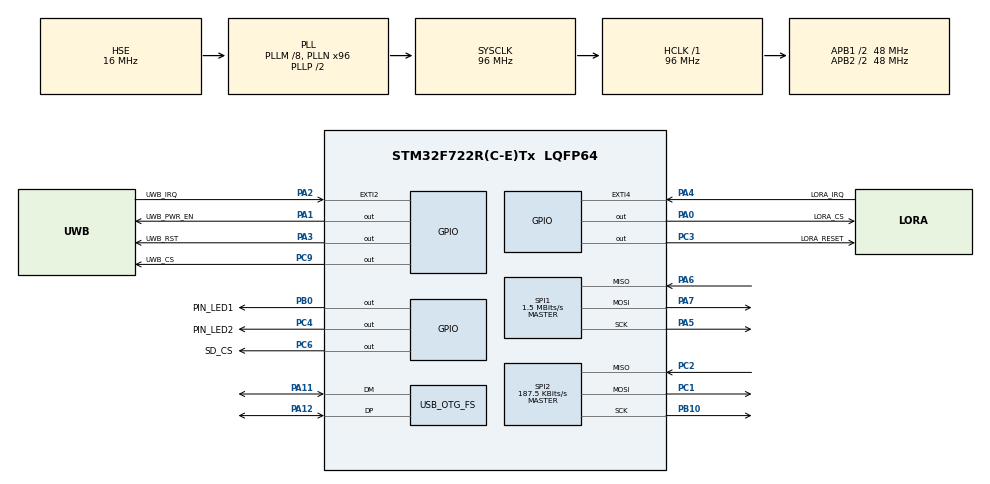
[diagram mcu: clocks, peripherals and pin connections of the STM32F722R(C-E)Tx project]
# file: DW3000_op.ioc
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Mcu.Family=STM32F7
Mcu.Name=STM32F722R(C-E)Tx
Mcu.Package=LQFP64
NVIC.EXTI2_IRQn=true\:0\:0\:false\:false\:true\:true\:true\:true
NVIC.EXTI4_IRQn=true\:0\:0\:false\:false\:true\:true\:true\:true
NVIC.OTG_FS_IRQn=true\:0\:0\:false\:false\:true\:false\:true\:true
NVIC.PriorityGroup=NVIC_PRIORITYGROUP_4
PA0-WKUP.GPIO_Label=LORA_CS
PA0-WKUP.GPIO_PuPd=GPIO_PULLUP
PA0-WKUP.PinState=GPIO_PIN_SET
PA0-WKUP.Signal=GPIO_Output
PA1.GPIO_Label=UWB_PWR_EN
PA1.Signal=GPIO_Output
PA11.Mode=Device_Only
PA11.Signal=USB_OTG_FS_DM
PA12.Mode=Device_Only
PA12.Signal=USB_OTG_FS_DP
PA13.Mode=Serial_Wire
PA13.Signal=SYS_JTMS-SWDIO
PA14.Mode=Serial_Wire
PA14.Signal=SYS_JTCK-SWCLK
PA2.GPIO_Label=UWB_IRQ
PA2.Signal=GPXTI2
PA3.GPIO_Label=UWB_RST
PA3.Signal=GPIO_Output
PA4.GPIO_Label=LORA_IRQ
PA4.GPIO_PuPd=GPIO_PULLDOWN
PA4.Signal=GPXTI4
PA5.Mode=Full_Duplex_Master
PA5.Signal=SPI1_SCK
PA6.Mode=Full_Duplex_Master
PA6.Signal=SPI1_MISO
PA7.Mode=Full_Duplex_Master
PA7.Signal=SPI1_MOSI
PB0.GPIO_Label=PIN_LED1
PB0.Signal=GPIO_Output
PB10.Mode=Full_Duplex_Master
PB10.Signal=SPI2_SCK
PC1.Mode=Full_Duplex_Master
PC1.Signal=SPI2_MOSI
PC14-OSC32_IN.Mode=LSE-External-Oscillator
PC14-OSC32_IN.Signal=RCC_OSC32_IN
PC15-OSC32_OUT.Mode=LSE-External-Oscillator
PC15-OSC32_OUT.Signal=RCC_OSC32_OUT
PC2.Mode=Full_Duplex_Master
PC2.Signal=SPI2_MISO
PC3.GPIO_Label=LORA_RESET
PC3.GPIO_PuPd=GPIO_PULLUP
PC3.Signal=GPIO_Output
PC4.GPIO_Label=PIN_LED2
PC4.Signal=GPIO_Output
PC6.GPIO_Label=SD_CS
PC6.GPIO_PuPd=GPIO_PULLUP
PC6.Signal=GPIO_Output
PC9.GPIO_Label=UWB_CS
PC9.GPIO_PuPd=GPIO_PULLUP
PC9.PinState=GPIO_PIN_SET
PC9.Signal=GPIO_Output
PH0-OSC_IN.Mode=HSE-External-Oscillator
PH0-OSC_IN.Signal=RCC_OSC_IN
PH1-OSC_OUT.Mode=HSE-External-Oscillator
PH1-OSC_OUT.Signal=RCC_OSC_OUT
ProjectManager.HeapSize=0x200
ProjectManager.StackSize=0x400
ProjectManager.TargetToolchain=STM32CubeIDE
RCC.AHBFreq_Value=96000000
RCC.APB1CLKDivider=RCC_HCLK_DIV2
RCC.APB1Freq_Value=48000000
RCC.APB1TimFreq_Value=96000000
RCC.APB2CLKDivider=RCC_HCLK_DIV2
RCC.APB2Freq_Value=48000000
RCC.APB2TimFreq_Value=96000000
RCC.CortexFreq_Value=96000000
RCC.HCLKFreq_Value=96000000
RCC.HSE_VALUE=16000000
RCC.HSI_VALUE=16000000
RCC.PLLM=8
RCC.PLLN=96
RCC.PLLQ=4
RCC.PWREXT_OverDrive=PWREXT_OverDrive_ACTIVATED
RCC.PWR_Regulator_Voltage_Scale=PWR_REGULATOR_VOLTAGE_SCALE1
RCC.SYSCLKFreq_VALUE=96000000
RCC.SYSCLKSource=RCC_SYSCLKSOURCE_PLLCLK
RCC.USBFreq_Value=48000000
RCC.VCOOutputFreq_Value=192000000
SPI1.BaudRatePrescaler=SPI_BAUDRATEPRESCALER_32
SPI1.CalculateBaudRate=1.5 MBits/s
SPI1.DataSize=SPI_DATASIZE_8BIT
SPI1.Direction=SPI_DIRECTION_2LINES
SPI1.Mode=SPI_MODE_MASTER
SPI1.VirtualType=VM_MASTER
SPI2.BaudRatePrescaler=SPI_BAUDRATEPRESCALER_256
SPI2.CalculateBaudRate=187.5 KBits/s
SPI2.DataSize=SPI_DATASIZE_8BIT
SPI2.Direction=SPI_DIRECTION_2LINES
SPI2.Mode=SPI_MODE_MASTER
SPI2.VirtualType=VM_MASTER
USB_DEVICE.CLASS_NAME_FS=CDC
USB_DEVICE.VirtualMode-CDC_FS=Cdc
USB_DEVICE.VirtualModeFS=Cdc_FS
USB_OTG_FS.VirtualMode=Device_Only
VP_FATFS_VS_Generic.Mode=User_defined
VP_USB_DEVICE_VS_USB_DEVICE_CDC_FS.Mode=CDC_FS
board=custom

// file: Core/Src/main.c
/* USER CODE BEGIN Header */
/**
  ******************************************************************************
  * @file           : main.c
  * @brief          : Main program body
  ******************************************************************************
  * @attention
  *
  * Copyright (c) 2025 STMicroelectronics.
  * All rights reserved.
  *
  * This software is licensed under terms that can be found in the LICENSE file
  * in the root directory of this software component.
  * If no LICENSE file comes with this software, it is provided AS-IS.
  *
  ******************************************************************************
  */
/* USER CODE END Header */
#include "main.h"
#include "fatfs.h"
#include "usb_device.h"

/* USER CODE BEGIN Includes */
#include "DW3000_FZ.h"
#include "DW3000_send_test_FZ.h"
#include "DW3000_recv_test_FZ.h"

/* USER CODE END Includes */

/* USER CODE BEGIN PTD */
/* Default communication configuration. We use default non-STS DW mode. */
static dwt_config_t config = {
  5,               /* Channel number. */
  DWT_PLEN_128,    /* Preamble length. Used in TX only. */
  DWT_PAC8,        /* Preamble acquisition chunk size. Used in RX only. */
  9,               /* TX preamble code. Used in TX only. */
  9,               /* RX preamble code. Used in RX only. */
  1,               /* 0 to use standard 8 symbol SFD, 1 to use non-standard 8 symbol, 2 for non-standard 16 symbol SFD and 3 for 4z 8 symbol SDF type */
  DWT_BR_6M8,      /* Data rate. */
  DWT_PHRMODE_STD, /* PHY header mode. */
  DWT_PHRRATE_STD, /* PHY header rate. */
  (129 + 8 - 8),   /* SFD timeout (preamble length + 1 + SFD length - PAC size). Used in RX only. */
  DWT_STS_MODE_OFF,
  DWT_STS_LEN_64, /* STS length, see allowed values in Enum dwt_sts_lengths_e */
  DWT_PDOA_M0     /* PDOA mode off */
};

/* Buffer to store received frame. See NOTE 1 below. */
//static uint8_t rx_buffer[FRAME_LEN_MAX];

// https://gist.github.com/egnor/455d510e11c22deafdec14b09da5bf54
node_type current_node = tx_node; // current node type, default is TX node
static uint8_t rx_buffer[FRAME_LEN_MAX];
#define FCS_LEN 2
/* Hold copy of status register state here for reference so that it can be examined at a debug breakpoint. */
uint32_t status_reg;
/* Hold copy of frame length of frame received (if good) so that it can be examined at a debug breakpoint. */
uint16_t frame_len;
/* USER CODE END PTD */

/* USER CODE BEGIN PD */
// #define FRAME_LENGTH (sizeof(tx_msg) + FCS_LEN) // The real length that is going to be transmitted

/* USER CODE END PD */

SPI_HandleTypeDef hspi1;
SPI_HandleTypeDef hspi2;

void SystemClock_Config(void);
static void MX_GPIO_Init(void);
static void MX_SPI1_Init(void);
static void MX_SPI2_Init(void);

int main(void)
{

  /* MCU Configuration--------------------------------------------------------*/

  /* Reset of all peripherals, Initializes the Flash interface and the Systick. */
  HAL_Init();

  /* Configure the system clock */
  SystemClock_Config();

  /* Initialize all configured peripherals */
  MX_GPIO_Init();
  MX_SPI1_Init();
  MX_SPI2_Init();
  MX_FATFS_Init();
  MX_USB_DEVICE_Init();
  /* USER CODE BEGIN 2 */

  HAL_Delay(10);

  DW3000poweron();
  HAL_Delay(10);     // wait for the DW3000 to power on and stabilize
  DW3000hardReset(); // with hard reset, no need for a softreset
  HAL_Delay(10);     // wait for the DW3000 to wake up

  set_SPI2lowspeed(&hspi1);
  // HAL_Delay(10);     // wait for the DW3000 to wake up

  // Make sure the SPI is ready
  while(!(dwt_read32bitoffsetreg(SYS_STATUS_ID, 0) & SYS_STATUS_SPIRDY_BIT_MASK)) {
    HAL_Delay(10);
  }

  // check if the DW3000 is present
  uint32_t dev_id = dwt_read32bitoffsetreg(DEV_ID_ID, 0);

  if (dev_id == (uint32_t)DWT_DW3000_DEV_ID) {
    printf("DW3000 Device ID: 0x%08lX\r\n", dev_id);
    blink_led(PIN_LED1_GPIO_Port, PIN_LED1_Pin, 50);
  } else {
    printf("Wrong Device ID: 0x%08lX\r\n", dev_id);
    while (1);
  }

  HAL_Delay(10);

  if(DW3000check_IDLE_RC()) {
    // DW3000enter_IDLE_PLL(); // enter PLL mode
    // HAL_Delay(10); // wait for the PLL to lock
  } else {
    while (1);
  }

  // test_run_info((unsigned char *)"IDLE OK\r\n");
  if (dwt_initialise(DWT_DW_INIT) == DWT_ERROR) {
	  printf("dwt_initialise error\r\n");
    while (100) {;}
  }

  dwt_setleds(DWT_LEDS_ENABLE | DWT_LEDS_INIT_BLINK);

  // Configure DW IC. See NOTE 5 below.
  // if the dwt_configure returns DWT_ERROR either the PLL or RX calibration has failed the host should reset the device
  if (dwt_configure(&config))  {
    printf("CONFIG FAILED\r\n");
    while (100) {;}
  }

  if (current_node == tx_node) {
    DW3000_irq_for_tx_done(); // enable the IRQ for TX done
    /* Configure the TX spectrum parameters (power PG delay and PG Count) */
    dwt_configuretxrf(0x34, 0xfdfdfdfd, 0x00);
  }
  if (current_node == rx_node) {
    DW3000_irq_for_rx_done(); // enable the IRQ for RX done
  }

  if(DW3000check_IDLE_RC()) {
    DW3000enter_IDLE_PLL(); // enter PLL mode
    HAL_Delay(10); // wait for the PLL to lock
  } else {
    while (1);
  }

  // wait until the PLL is locked and the DW3000 is in IDLE state
  // actually this is redundant since PLL lock means IDLE_PLL state
  if(DW3000check_IDLE_PLL() && DW3000check_IDLE()) {
    HAL_GPIO_WritePin(PIN_LED1_GPIO_Port, PIN_LED1_Pin, GPIO_PIN_SET);
  } else {
    HAL_GPIO_WritePin(PIN_LED1_GPIO_Port, PIN_LED1_Pin, GPIO_PIN_RESET);
    while (1);
  }
  set_SPI2highspeed(&hspi1);

  /* USER CODE END 2 */

  /* Infinite loop */
  while (1) {

    /* USER CODE BEGIN 3 */
    if (current_node == tx_node) {
      // send data
      DW3000_clear_IRQ(); // clear the IRQ flags, reset the IRQ pin.
      DW3000_writetxdata_FZ(data2send, 10);
      dwt_writetxfctrl(12, 0, 0); /* Zero offset in TX buffer, no ranging. */
      DW3000_txcmd_FZ(0);

      // wait for the IRQ to be triggered
      while (!DW3000_IRQ_flag) {;}

      DW3000_IRQ_flag = false; // reset the flag
      uint32_t current_status = DW3000readreg(SYS_STATUS_ID, 4);

      if (current_status & SYS_STATUS_TXFRS_BIT_MASK) {
        printf("TX done, SYS_STATUS: 0x%08lX\r\n", current_status);
        // clear the IRQ flags
        DW3000_clear_IRQ();
        HAL_GPIO_WritePin(GPIOC, PIN_LED2_Pin, GPIO_PIN_SET);
        HAL_Delay(50);
        HAL_GPIO_WritePin(GPIOC, PIN_LED2_Pin, GPIO_PIN_RESET);
        HAL_Delay(448);
      } else {
        printf("TX failed, SYS_STATUS: 0x%08lX\r\n", current_status);
        // clear the IRQ flags
        DW3000_clear_IRQ();
        HAL_GPIO_WritePin(GPIOC, PIN_LED2_Pin, GPIO_PIN_RESET);
        HAL_Delay(500);
      }
    }
    if (current_node == rx_node) {
      // receive data
      memset(rx_buffer, 0, sizeof(rx_buffer));
      DW3000_clear_IRQ(); // clear the IRQ flags, reset the IRQ pin.
      DW3000_start_receiver_FZ(); // start the receiver
      // DW3000_set_max_sfd_timeout(); // set the maximum SFD timeout

      // wait for the IRQ to be triggered
      while (!DW3000_IRQ_flag) {;}

      DW3000_IRQ_flag = false; // reset the flag
      uint32_t current_status = DW3000readreg(SYS_STATUS_ID, 4);

      if (current_status & SYS_STATUS_RXFR_BIT_MASK) {
        DW3000_clear_IRQ();
        HAL_GPIO_WritePin(GPIOC, PIN_LED2_Pin, GPIO_PIN_SET);
        HAL_Delay(50);
        HAL_GPIO_WritePin(GPIOC, PIN_LED2_Pin, GPIO_PIN_RESET);
        frame_len = dwt_read32bitreg(RX_FINFO_ID) & RX_FINFO_RXFLEN_BIT_MASK;
        dwt_readrxdata(rx_buffer, frame_len - FCS_LEN, 0); /* No need to read the FCS/CRC. */
        dwt_write32bitreg(SYS_STATUS_ID, SYS_STATUS_RXFCG_BIT_MASK);
        printf("RX OK, length %d bytes: ", frame_len);
        for (size_t i = 0; i < frame_len; i++) {
          printf("0x%02X ", rx_buffer[i]);
        }
        printf("\r\n");

      } else {
        DW3000_clear_IRQ();
        HAL_GPIO_WritePin(GPIOC, PIN_LED2_Pin, GPIO_PIN_SET);
        HAL_Delay(50);
        HAL_GPIO_WritePin(GPIOC, PIN_LED2_Pin, GPIO_PIN_RESET);
        printf("RX failed, SYS_STATUS: 0x%08lX\r\n", current_status);
      }
    }
  }
  /* USER CODE END 3 */
}

void SystemClock_Config(void)
{
  RCC_OscInitTypeDef RCC_OscInitStruct = {0};
  RCC_ClkInitTypeDef RCC_ClkInitStruct = {0};

  /** Configure LSE Drive Capability
  */
  HAL_PWR_EnableBkUpAccess();

  /** Configure the main internal regulator output voltage
  */
  __HAL_RCC_PWR_CLK_ENABLE();
  __HAL_PWR_VOLTAGESCALING_CONFIG(PWR_REGULATOR_VOLTAGE_SCALE1);

  /** Initializes the RCC Oscillators according to the specified parameters
  * in the RCC_OscInitTypeDef structure.
  */
  RCC_OscInitStruct.OscillatorType = RCC_OSCILLATORTYPE_HSE;
  RCC_OscInitStruct.HSEState = RCC_HSE_ON;
  RCC_OscInitStruct.PLL.PLLState = RCC_PLL_ON;
  RCC_OscInitStruct.PLL.PLLSource = RCC_PLLSOURCE_HSE;
  RCC_OscInitStruct.PLL.PLLM = 8;
  RCC_OscInitStruct.PLL.PLLN = 96;
  RCC_OscInitStruct.PLL.PLLP = RCC_PLLP_DIV2;
  RCC_OscInitStruct.PLL.PLLQ = 4;
  if (HAL_RCC_OscConfig(&RCC_OscInitStruct) != HAL_OK)
  {
    Error_Handler();
  }

  /** Activate the Over-Drive mode
  */
  if (HAL_PWREx_EnableOverDrive() != HAL_OK)
  {
    Error_Handler();
  }

  /** Initializes the CPU, AHB and APB buses clocks
  */
  RCC_ClkInitStruct.ClockType = RCC_CLOCKTYPE_HCLK|RCC_CLOCKTYPE_SYSCLK
                              |RCC_CLOCKTYPE_PCLK1|RCC_CLOCKTYPE_PCLK2;
  RCC_ClkInitStruct.SYSCLKSource = RCC_SYSCLKSOURCE_PLLCLK;
  RCC_ClkInitStruct.AHBCLKDivider = RCC_SYSCLK_DIV1;
  RCC_ClkInitStruct.APB1CLKDivider = RCC_HCLK_DIV2;
  RCC_ClkInitStruct.APB2CLKDivider = RCC_HCLK_DIV2;

  if (HAL_RCC_ClockConfig(&RCC_ClkInitStruct, FLASH_LATENCY_3) != HAL_OK)
  {
    Error_Handler();
  }
}

static void MX_SPI1_Init(void)
{

  /* SPI1 parameter configuration*/
  hspi1.Instance = SPI1;
  hspi1.Init.Mode = SPI_MODE_MASTER;
  hspi1.Init.Direction = SPI_DIRECTION_2LINES;
  hspi1.Init.DataSize = SPI_DATASIZE_8BIT;
  hspi1.Init.CLKPolarity = SPI_POLARITY_LOW;
  hspi1.Init.CLKPhase = SPI_PHASE_1EDGE;
  hspi1.Init.NSS = SPI_NSS_SOFT;
  hspi1.Init.BaudRatePrescaler = SPI_BAUDRATEPRESCALER_32;
  hspi1.Init.FirstBit = SPI_FIRSTBIT_MSB;
  hspi1.Init.TIMode = SPI_TIMODE_DISABLE;
  hspi1.Init.CRCCalculation = SPI_CRCCALCULATION_DISABLE;
  hspi1.Init.CRCPolynomial = 7;
  hspi1.Init.CRCLength = SPI_CRC_LENGTH_DATASIZE;
  hspi1.Init.NSSPMode = SPI_NSS_PULSE_ENABLE;
  if (HAL_SPI_Init(&hspi1) != HAL_OK)
  {
    Error_Handler();
  }

}

static void MX_SPI2_Init(void)
{

  /* SPI2 parameter configuration*/
  hspi2.Instance = SPI2;
  hspi2.Init.Mode = SPI_MODE_MASTER;
  hspi2.Init.Direction = SPI_DIRECTION_2LINES;
  hspi2.Init.DataSize = SPI_DATASIZE_8BIT;
  hspi2.Init.CLKPolarity = SPI_POLARITY_LOW;
  hspi2.Init.CLKPhase = SPI_PHASE_1EDGE;
  hspi2.Init.NSS = SPI_NSS_SOFT;
  hspi2.Init.BaudRatePrescaler = SPI_BAUDRATEPRESCALER_256;
  hspi2.Init.FirstBit = SPI_FIRSTBIT_MSB;
  hspi2.Init.TIMode = SPI_TIMODE_DISABLE;
  hspi2.Init.CRCCalculation = SPI_CRCCALCULATION_DISABLE;
  hspi2.Init.CRCPolynomial = 7;
  hspi2.Init.CRCLength = SPI_CRC_LENGTH_DATASIZE;
  hspi2.Init.NSSPMode = SPI_NSS_PULSE_ENABLE;
  if (HAL_SPI_Init(&hspi2) != HAL_OK)
  {
    Error_Handler();
  }

}

static void MX_GPIO_Init(void)
{
  GPIO_InitTypeDef GPIO_InitStruct = {0};

  /* GPIO Ports Clock Enable */
  __HAL_RCC_GPIOC_CLK_ENABLE();
  __HAL_RCC_GPIOH_CLK_ENABLE();
  __HAL_RCC_GPIOA_CLK_ENABLE();
  __HAL_RCC_GPIOB_CLK_ENABLE();

  /*Configure GPIO pin Output Level */
  HAL_GPIO_WritePin(GPIOC, LORA_RESET_Pin|PIN_LED2_Pin|SD_CS_Pin, GPIO_PIN_RESET);

  /*Configure GPIO pin Output Level */
  HAL_GPIO_WritePin(LORA_CS_GPIO_Port, LORA_CS_Pin, GPIO_PIN_SET);

  /*Configure GPIO pin Output Level */
  HAL_GPIO_WritePin(GPIOA, UWB_PWR_EN_Pin|UWB_RST_Pin, GPIO_PIN_RESET);

  /*Configure GPIO pin Output Level */
  HAL_GPIO_WritePin(PIN_LED1_GPIO_Port, PIN_LED1_Pin, GPIO_PIN_RESET);

  /*Configure GPIO pin Output Level */
  HAL_GPIO_WritePin(UWB_CS_GPIO_Port, UWB_CS_Pin, GPIO_PIN_SET);

  /*Configure GPIO pins : LORA_RESET_Pin SD_CS_Pin UWB_CS_Pin */
  GPIO_InitStruct.Pin = LORA_RESET_Pin|SD_CS_Pin|UWB_CS_Pin;
  GPIO_InitStruct.Mode = GPIO_MODE_OUTPUT_PP;
  GPIO_InitStruct.Pull = GPIO_PULLUP;
  GPIO_InitStruct.Speed = GPIO_SPEED_FREQ_LOW;
  HAL_GPIO_Init(GPIOC, &GPIO_InitStruct);

  /*Configure GPIO pin : LORA_CS_Pin */
  GPIO_InitStruct.Pin = LORA_CS_Pin;
  GPIO_InitStruct.Mode = GPIO_MODE_OUTPUT_PP;
  GPIO_InitStruct.Pull = GPIO_PULLUP;
  GPIO_InitStruct.Speed = GPIO_SPEED_FREQ_LOW;
  HAL_GPIO_Init(LORA_CS_GPIO_Port, &GPIO_InitStruct);

  /*Configure GPIO pins : UWB_PWR_EN_Pin UWB_RST_Pin */
  GPIO_InitStruct.Pin = UWB_PWR_EN_Pin|UWB_RST_Pin;
  GPIO_InitStruct.Mode = GPIO_MODE_OUTPUT_PP;
  GPIO_InitStruct.Pull = GPIO_NOPULL;
  GPIO_InitStruct.Speed = GPIO_SPEED_FREQ_LOW;
  HAL_GPIO_Init(GPIOA, &GPIO_InitStruct);

  /*Configure GPIO pin : UWB_IRQ_Pin */
  GPIO_InitStruct.Pin = UWB_IRQ_Pin;
  GPIO_InitStruct.Mode = GPIO_MODE_IT_RISING;
  GPIO_InitStruct.Pull = GPIO_NOPULL;
  HAL_GPIO_Init(UWB_IRQ_GPIO_Port, &GPIO_InitStruct);

  /*Configure GPIO pin : LORA_IRQ_Pin */
  GPIO_InitStruct.Pin = LORA_IRQ_Pin;
  GPIO_InitStruct.Mode = GPIO_MODE_IT_RISING;
  GPIO_InitStruct.Pull = GPIO_PULLDOWN;
  HAL_GPIO_Init(LORA_IRQ_GPIO_Port, &GPIO_InitStruct);

  /*Configure GPIO pin : PIN_LED2_Pin */
  GPIO_InitStruct.Pin = PIN_LED2_Pin;
  GPIO_InitStruct.Mode = GPIO_MODE_OUTPUT_PP;
  GPIO_InitStruct.Pull = GPIO_NOPULL;
  GPIO_InitStruct.Speed = GPIO_SPEED_FREQ_LOW;
  HAL_GPIO_Init(PIN_LED2_GPIO_Port, &GPIO_InitStruct);

  /*Configure GPIO pin : PIN_LED1_Pin */
  GPIO_InitStruct.Pin = PIN_LED1_Pin;
  GPIO_InitStruct.Mode = GPIO_MODE_OUTPUT_PP;
  GPIO_InitStruct.Pull = GPIO_NOPULL;
  GPIO_InitStruct.Speed = GPIO_SPEED_FREQ_LOW;
  HAL_GPIO_Init(PIN_LED1_GPIO_Port, &GPIO_InitStruct);

  /* EXTI interrupt init*/
  HAL_NVIC_SetPriority(EXTI2_IRQn, 0, 0);
  HAL_NVIC_EnableIRQ(EXTI2_IRQn);

  HAL_NVIC_SetPriority(EXTI4_IRQn, 0, 0);
  HAL_NVIC_EnableIRQ(EXTI4_IRQn);

}

void Error_Handler(void)
{
  __disable_irq();
  while (1)
  {
  }
}
